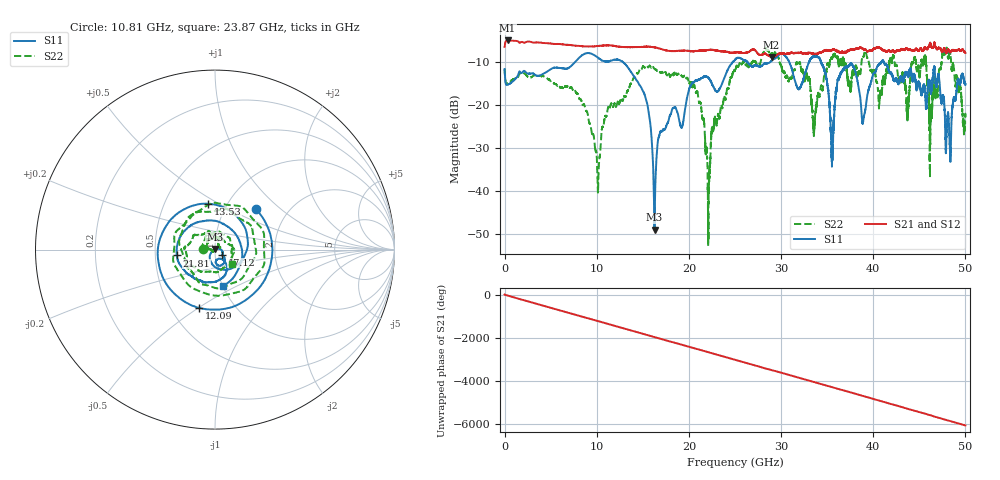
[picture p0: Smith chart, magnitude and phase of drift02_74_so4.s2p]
!Created with skrf (http://scikit-rf.org).
# Hz S RI R 50.0
!freq ReS11 ImS11 ReS21 ImS21 ReS12 ImS12 ReS22 ImS22
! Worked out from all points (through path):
!   10001 points, 300 kHz to 50 GHz, reference 50 ohm
!   highest |S21| = -5.04 dB at 325.3 MHz (marker M1); lowest = -8.9 dB at 28.97 GHz (marker M2)
!   group delay of S21, straight-line fit = 336 ps
!   lowest |S11| = -48.9 dB at 16.27 GHz (marker M3), VSWR 1.01, Z = 49.9 + j0.335 ohm
!   |S11| at or under -10 dB: start of sweep to 7.668 GHz; 12.82 GHz to 24.78 GHz (11.96 GHz wide, 63.6 % of centre); 41.13 GHz to end of sweep (the widest 3 of 8)
!   |S22| runs from -52.8 to -6.7 dB; largest |S21 - S12| = 0.031
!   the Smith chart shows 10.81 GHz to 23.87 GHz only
!   S11 on the Smith chart (normalised r, x): 10.81 GHz: 1.38, +0.70; 12.09 GHz: 0.69, -0.51; 13.53 GHz: 0.82, +0.45; 17.12 GHz: 1.08, -0.06; 21.81 GHz: 0.65, -0.04; 23.87 GHz: 1.01, -0.42
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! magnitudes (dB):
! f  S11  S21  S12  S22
! 300 kHz  -11.7  -6.5  -6.5  -11.6
! 325.3 MHz  -15.3  -5.0  -5.0  -15.1
! 8.335 GHz  -8.6  -6.4  -6.4  -19.1
! 10.11 GHz  -9.0  -6.3  -6.3  -39.0
! 10.81 GHz  -9.8  -6.2  -6.2  -23.6
! 12.09 GHz  -9.5  -6.4  -6.4  -20.4
! 13.53 GHz  -11.7  -6.6  -6.6  -16.0
! 16.27 GHz  -48.9  -6.6  -6.6  -11.7
! 16.67 GHz  -27.9  -6.8  -6.8  -12.1
! 17.12 GHz  -26.1  -7.1  -7.1  -12.4
! 21.81 GHz  -13.3  -7.3  -7.3  -30.8
! 23.87 GHz  -13.7  -7.6  -7.6  -18.1
! 25 GHz  -9.5  -7.8  -7.8  -12.0
! 28.97 GHz  -9.8  -8.9  -8.9  -8.0
! 33.34 GHz  -9.1  -8.0  -8.0  -20.1
! 35.54 GHz  -32.6  -7.3  -7.3  -9.2
! 36.79 GHz  -11.7  -7.9  -7.9  -9.7
! 38.94 GHz  -23.3  -7.1  -7.0  -8.9
! 41.67 GHz  -11.9  -7.4  -7.5  -12.1
! 46.25 GHz  -17.5  -6.1  -6.1  -20.7
! 48.13 GHz  -22.2  -7.1  -7.1  -9.0
! 50 GHz  -15.1  -7.9  -7.9  -22.9
